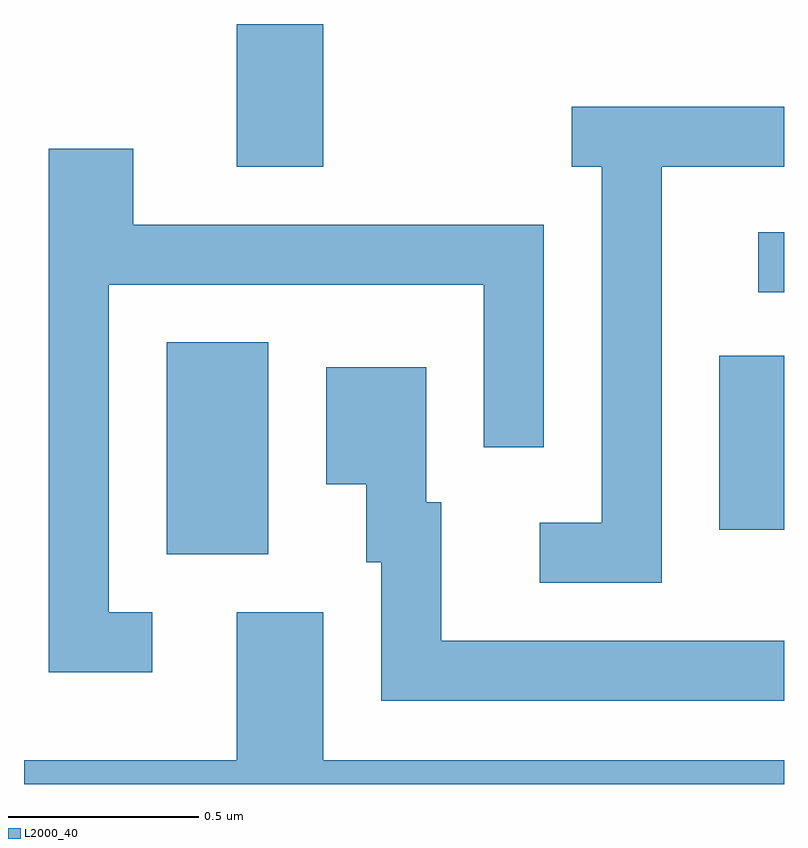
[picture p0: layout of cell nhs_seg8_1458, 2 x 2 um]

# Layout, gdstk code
import gdstk
lib = gdstk.Library(unit=1e-6, precision=1e-09)
def R(c, l, rs):  # rectangles x0, y0, x1, y1
    for r in rs: c.add(gdstk.rectangle(r[:2], r[2:], *l))
def P(c, l, *ps):  # polygons
    for p in ps: c.add(gdstk.Polygon(p, *l))
L2000_40 = (2000, 40)

nhs_seg8_1458 = lib.new_cell('nhs_seg8_1458')
R(nhs_seg8_1458, L2000_40, [(195.986,1894.946,196.254,1895.504), (197.441,1895.011,197.611,1895.469), (197.543,1895.636,197.611,1895.794), (196.171,1895.966,196.399,1896.342)])
P(nhs_seg8_1458, L2000_40, [(197.289,1895.966),(197.611,1895.966),(197.611,1896.124),(197.053,1896.124),(197.053,1895.966),(197.131,1895.966),(197.131,1895.029),(196.968,1895.029),(196.968,1894.871),(197.289,1894.871)],
  [(195.948,1894.794),(195.834,1894.794),(195.834,1895.656),(196.821,1895.656),(196.821,1895.228),(196.979,1895.228),(196.979,1895.814),(195.899,1895.814),(195.899,1896.014),(195.676,1896.014),(195.676,1894.636),(195.948,1894.636)],
  [(197.611,1894.719),(196.709,1894.719),(196.709,1895.084),(196.669,1895.084),(196.669,1895.439),(196.406,1895.439),(196.406,1895.131),(196.511,1895.131),(196.511,1894.926),(196.551,1894.926),(196.551,1894.561),(197.611,1894.561)],
  [(197.611,1894.404),(196.399,1894.404),(196.399,1894.794),(196.171,1894.794),(196.171,1894.404),(195.611,1894.404),(195.611,1894.342),(197.611,1894.342)])

lib.write_gds('nhs_seg8_1458.gds')
